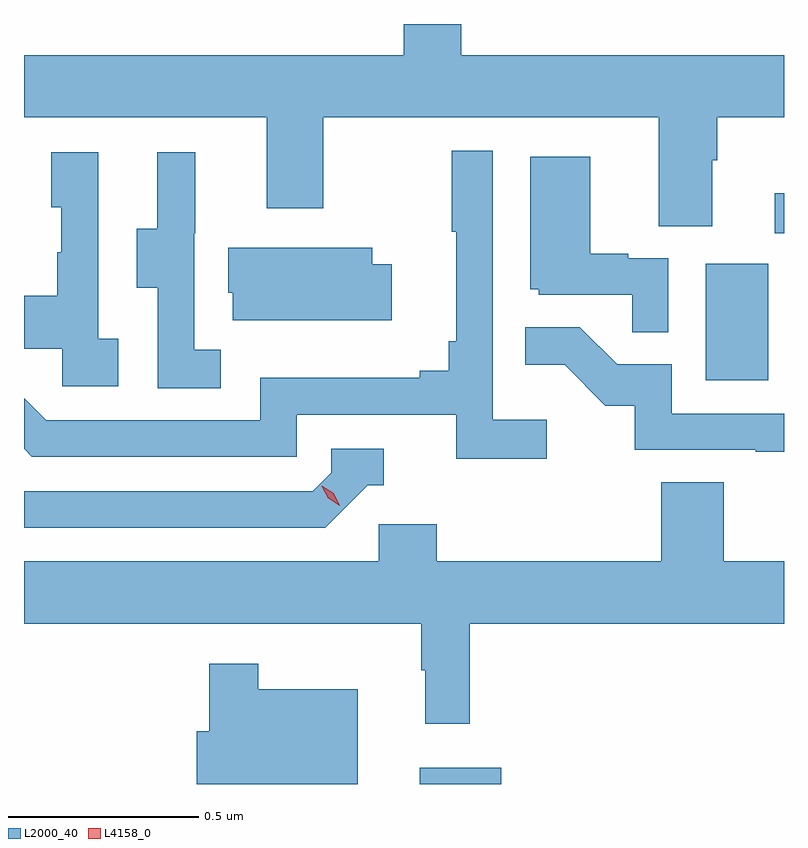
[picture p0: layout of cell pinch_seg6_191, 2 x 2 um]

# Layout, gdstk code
import gdstk
lib = gdstk.Library(unit=1e-6, precision=1e-09)
def R(c, l, rs):  # rectangles x0, y0, x1, y1
    for r in rs: c.add(gdstk.rectangle(r[:2], r[2:], *l))
def P(c, l, *ps):  # polygons
    for p in ps: c.add(gdstk.Polygon(p, *l))
L2000_40 = (2000, 40)
L4158_0 = (4158, 0)

pinch_seg6_191 = lib.new_cell('pinch_seg6_191')
R(pinch_seg6_191, L2000_40, [(1018.421,929.598,1018.636,929.641), (1019.174,930.66,1019.338,930.967), (1019.355,931.047,1019.38,931.153)])
P(pinch_seg6_191, L2000_40, [(1019.191,931.24),(1019.204,931.24),(1019.204,931.352),(1019.38,931.352),(1019.38,931.516),(1018.531,931.516),(1018.531,931.598),(1018.379,931.598),(1018.379,931.516),(1017.38,931.516),(1017.38,931.352),(1018.019,931.352),(1018.019,931.113),(1018.167,931.113),(1018.167,931.352),(1019.051,931.352),(1019.051,931.066),(1019.191,931.066)],
  [(1018.756,930.556),(1018.614,930.556),(1018.614,931.264),(1018.506,931.264),(1018.506,931.051),(1018.517,931.051),(1018.517,930.763),(1018.498,930.763),(1018.498,930.686),(1018.421,930.686),(1018.421,930.667),(1018.002,930.667),(1018.002,930.555),(1017.438,930.555),(1017.38,930.613),(1017.38,930.48),(1017.401,930.459),(1018.098,930.459),(1018.098,930.57),(1018.517,930.57),(1018.517,930.454),(1018.756,930.454)],
  [(1017.898,930.741),(1017.828,930.741),(1017.828,931.047),(1017.83,931.047),(1017.83,931.261),(1017.731,931.261),(1017.731,931.059),(1017.677,931.059),(1017.677,930.904),(1017.732,930.904),(1017.732,930.64),(1017.898,930.64)],
  [(1017.628,930.77),(1017.576,930.77),(1017.576,931.261),(1017.452,931.261),(1017.452,931.116),(1017.478,931.116),(1017.478,930.998),(1017.468,930.998),(1017.468,930.883),(1017.38,930.883),(1017.38,930.743),(1017.48,930.743),(1017.48,930.645),(1017.628,930.645)],
  [(1019.076,930.981),(1018.97,930.981),(1018.97,930.994),(1018.87,930.994),(1018.87,931.249),(1018.712,931.249),(1018.712,930.9),(1018.734,930.9),(1018.734,930.885),(1018.981,930.885),(1018.981,930.787),(1019.076,930.787)],
  [(1018.348,930.966),(1018.297,930.966),(1018.297,931.009),(1017.917,931.009),(1017.917,930.891),(1017.929,930.891),(1017.929,930.819),(1018.033,930.819),(1018.033,930.818),(1018.348,930.818)],
  [(1019.38,930.573),(1019.085,930.573),(1019.085,930.702),(1018.941,930.702),(1018.843,930.8),(1018.699,930.8),(1018.699,930.701),(1018.803,930.701),(1018.91,930.594),(1018.987,930.594),(1018.987,930.477),(1019.305,930.477),(1019.305,930.472),(1019.38,930.472)],
  [(1018.284,930.384),(1018.327,930.384),(1018.327,930.48),(1018.188,930.48),(1018.188,930.417),(1018.14,930.369),(1017.38,930.369),(1017.38,930.273),(1018.173,930.273)],
  [(1018.314,930.184),(1017.38,930.184),(1017.38,930.02),(1018.425,930.02),(1018.425,929.897),(1018.436,929.897),(1018.436,929.757),(1018.553,929.757),(1018.553,930.02),(1019.38,930.02),(1019.38,930.184),(1019.222,930.184),(1019.222,930.392),(1019.057,930.392),(1019.057,930.184),(1018.466,930.184),(1018.466,930.282),(1018.314,930.282)],
  [(1018.258,929.848),(1017.997,929.848),(1017.997,929.914),(1017.868,929.914),(1017.868,929.737),(1017.834,929.737),(1017.834,929.598),(1018.258,929.598)])
P(pinch_seg6_191, L4158_0, [(1018.211,930.33),(1018.18,930.35),(1018.163,930.382),(1018.163,930.383),(1018.164,930.383),(1018.195,930.363),(1018.211,930.331),(1018.211,930.33)])

lib.write_gds('pinch_seg6_191.gds')
